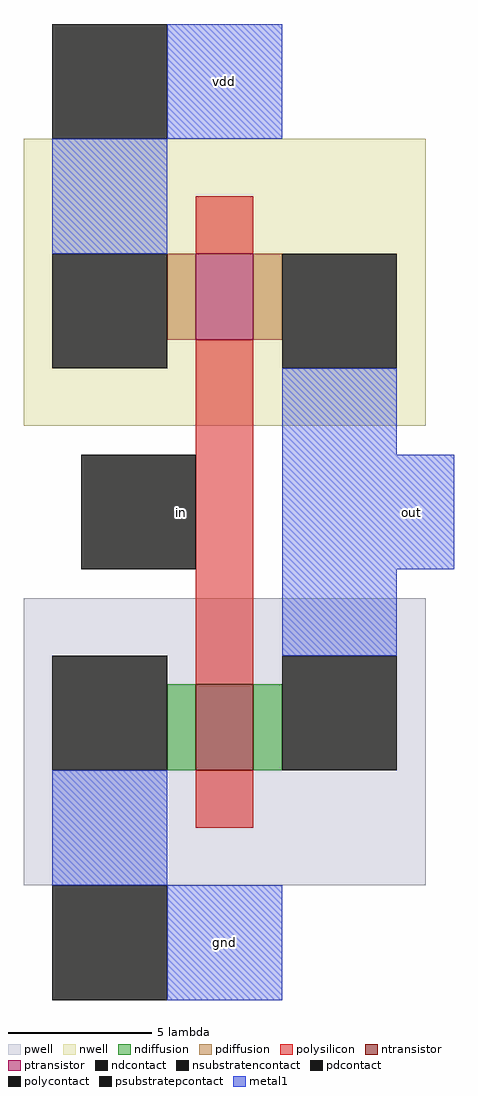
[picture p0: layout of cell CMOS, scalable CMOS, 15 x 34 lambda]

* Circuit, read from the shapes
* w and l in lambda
.subckt CMOS gnd in out vdd
M1 out in gnd gnd nfet w=3 l=2
M2 out in vdd n1 pfet w=3 l=2
.ends

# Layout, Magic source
magic
tech scmos
<< pwell >>
rect -6 -4 8 6
<< nwell >>
rect -6 12 8 22
<< polysilicon >>
rect 0 18 2 20
rect 0 3 2 15
rect 0 -2 2 0
<< ndiffusion >>
rect -1 0 0 3
rect 2 0 3 3
<< pdiffusion >>
rect -1 15 0 18
rect 2 15 3 18
<< metal1 >>
rect -1 22 3 26
rect -5 18 -1 22
rect 3 11 7 14
rect 3 7 9 11
rect 3 4 7 7
rect -5 -4 -1 0
rect -1 -8 3 -4
<< ntransistor >>
rect 0 0 2 3
<< ptransistor >>
rect 0 15 2 18
<< polycontact >>
rect -4 7 0 11
<< ndcontact >>
rect -5 0 -1 4
rect 3 0 7 4
<< pdcontact >>
rect -5 14 -1 18
rect 3 14 7 18
<< psubstratepcontact >>
rect -5 -8 -1 -4
<< nsubstratencontact >>
rect -5 22 -1 26
<< labels >>
rlabel metal1 -1 22 3 26 0 vdd
rlabel metal1 -1 -8 3 -4 0 gnd
rlabel metal1 6 8 9 10 0 out
rlabel polysilicon -2 8 1 10 0 in
<< end >>
